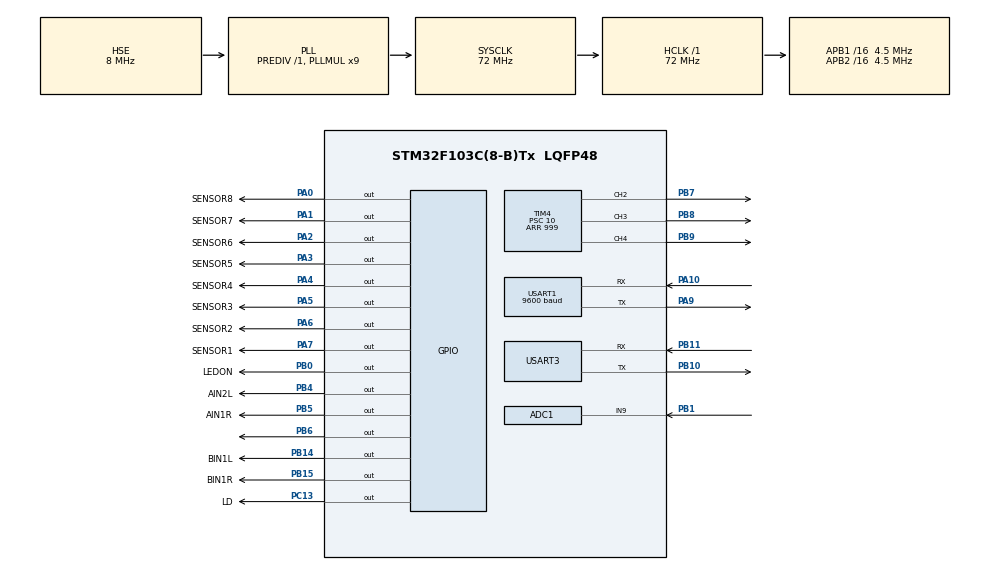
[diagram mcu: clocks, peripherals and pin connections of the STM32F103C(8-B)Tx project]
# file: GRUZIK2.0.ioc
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ADC1.Channel-0\#ChannelRegularConversion=ADC_CHANNEL_9
ADC1.ContinuousConvMode=ENABLE
ADC1.EnableAnalogWatchDog=false
ADC1.NbrOfConversion=1
ADC1.NbrOfConversionFlag=1
ADC1.Rank-0\#ChannelRegularConversion=1
ADC1.SamplingTime-0\#ChannelRegularConversion=ADC_SAMPLETIME_239CYCLES_5
ADC1.master=1
Dma.ADC1.0.Direction=DMA_PERIPH_TO_MEMORY
Dma.ADC1.0.Instance=DMA1_Channel1
Dma.ADC1.0.MemDataAlignment=DMA_MDATAALIGN_HALFWORD
Dma.ADC1.0.MemInc=DMA_MINC_ENABLE
Dma.ADC1.0.Mode=DMA_CIRCULAR
Dma.ADC1.0.PeriphDataAlignment=DMA_PDATAALIGN_HALFWORD
Dma.ADC1.0.PeriphInc=DMA_PINC_DISABLE
Dma.ADC1.0.Priority=DMA_PRIORITY_LOW
Dma.Request0=ADC1
Mcu.Family=STM32F1
Mcu.Name=STM32F103C(8-B)Tx
Mcu.Package=LQFP48
NVIC.DMA1_Channel1_IRQn=true\:0\:0\:false\:false\:true\:false\:true\:true
NVIC.PriorityGroup=NVIC_PRIORITYGROUP_4
NVIC.TIM1_BRK_IRQn=true\:0\:0\:false\:false\:true\:true\:true\:true
NVIC.TIM1_CC_IRQn=true\:0\:0\:false\:false\:true\:true\:true\:true
NVIC.TIM1_TRG_COM_IRQn=true\:0\:0\:false\:false\:true\:true\:true\:true
NVIC.TIM1_UP_IRQn=true\:0\:0\:false\:false\:true\:true\:true\:true
NVIC.USART1_IRQn=true\:0\:0\:false\:false\:true\:true\:true\:true
PA0-WKUP.GPIO_Label=SENSOR8
PA0-WKUP.GPIO_Speed=GPIO_SPEED_FREQ_HIGH
PA0-WKUP.Signal=GPIO_Output
PA1.GPIO_Label=SENSOR7
PA1.GPIO_Speed=GPIO_SPEED_FREQ_HIGH
PA1.Signal=GPIO_Output
PA10.Mode=Asynchronous
PA10.Signal=USART1_RX
PA13.Mode=Serial_Wire
PA13.Signal=SYS_JTMS-SWDIO
PA14.Mode=Serial_Wire
PA14.Signal=SYS_JTCK-SWCLK
PA2.GPIO_Label=SENSOR6
PA2.GPIO_Speed=GPIO_SPEED_FREQ_HIGH
PA2.Signal=GPIO_Output
PA3.GPIO_Label=SENSOR5
PA3.GPIO_Speed=GPIO_SPEED_FREQ_HIGH
PA3.Signal=GPIO_Output
PA4.GPIO_Label=SENSOR4
PA4.GPIO_Speed=GPIO_SPEED_FREQ_HIGH
PA4.Signal=GPIO_Output
PA5.GPIO_Label=SENSOR3
PA5.GPIO_Speed=GPIO_SPEED_FREQ_HIGH
PA5.Signal=GPIO_Output
PA6.GPIO_Label=SENSOR2
PA6.Signal=GPIO_Output
PA7.GPIO_Label=SENSOR1
PA7.GPIO_Speed=GPIO_SPEED_FREQ_HIGH
PA7.Signal=GPIO_Output
PA9.Mode=Asynchronous
PA9.Signal=USART1_TX
PB0.GPIO_Label=LEDON
PB0.GPIO_Speed=GPIO_SPEED_FREQ_HIGH
PB0.Signal=GPIO_Output
PB1.Signal=ADCx_IN9
PB10.Mode=Asynchronous
PB10.Signal=USART3_TX
PB11.Mode=Asynchronous
PB11.Signal=USART3_RX
PB14.GPIO_Label=BIN1L
PB14.GPIO_Speed=GPIO_SPEED_FREQ_HIGH
PB14.Signal=GPIO_Output
PB15.GPIO_Label=BIN1R
PB15.GPIO_Speed=GPIO_SPEED_FREQ_HIGH
PB15.Signal=GPIO_Output
PB4.GPIO_Label=AIN2L
PB4.GPIO_Speed=GPIO_SPEED_FREQ_HIGH
PB4.PinState=GPIO_PIN_RESET
PB4.Signal=GPIO_Output
PB5.GPIO_Label=AIN1R
PB5.GPIO_Speed=GPIO_SPEED_FREQ_HIGH
PB5.Signal=GPIO_Output
PB6.GPIO_Speed=GPIO_SPEED_FREQ_MEDIUM
PB6.Signal=GPIO_Output
PB7.Signal=S_TIM4_CH2
PB8.Signal=S_TIM4_CH3
PB9.Signal=S_TIM4_CH4
PC13-TAMPER-RTC.GPIO_Label=LD
PC13-TAMPER-RTC.PinState=GPIO_PIN_SET
PC13-TAMPER-RTC.Signal=GPIO_Output
PD0-OSC_IN.Mode=HSE-External-Oscillator
PD0-OSC_IN.Signal=RCC_OSC_IN
PD1-OSC_OUT.Mode=HSE-External-Oscillator
PD1-OSC_OUT.Signal=RCC_OSC_OUT
ProjectManager.HeapSize=0x200
ProjectManager.StackSize=0x400
ProjectManager.TargetToolchain=STM32CubeIDE
RCC.ADCPresc=RCC_ADCPCLK2_DIV6
RCC.AHBFreq_Value=72000000
RCC.APB1CLKDivider=RCC_HCLK_DIV16
RCC.APB1Freq_Value=4500000
RCC.APB1TimFreq_Value=9000000
RCC.APB2CLKDivider=RCC_HCLK_DIV16
RCC.APB2Freq_Value=4500000
RCC.APB2TimFreq_Value=9000000
RCC.HCLKFreq_Value=72000000
RCC.PLLMUL=RCC_PLL_MUL9
RCC.PLLSourceVirtual=RCC_PLLSOURCE_HSE
RCC.SYSCLKFreq_VALUE=72000000
RCC.SYSCLKSource=RCC_SYSCLKSOURCE_PLLCLK
RCC.USBFreq_Value=72000000
SH.ADCx_IN9.0=ADC1_IN9,IN9
SH.S_TIM4_CH2.0=TIM4_CH2,PWM Generation2 CH2
SH.S_TIM4_CH3.0=TIM4_CH3,Output Compare3 CH3
SH.S_TIM4_CH4.0=TIM4_CH4,PWM Generation4 CH4
TIM1.AutoReloadPreload=TIM_AUTORELOAD_PRELOAD_ENABLE
TIM1.CounterMode=TIM_COUNTERMODE_DOWN
TIM1.Prescaler=9000
TIM2.Prescaler=9
TIM3.AutoReloadPreload=TIM_AUTORELOAD_PRELOAD_ENABLE
TIM3.Prescaler=9000
TIM4.Channel-Output\ Compare3\ CH3=TIM_CHANNEL_3
TIM4.Channel-PWM\ Generation2\ CH2=TIM_CHANNEL_2
TIM4.Channel-PWM\ Generation4\ CH4=TIM_CHANNEL_4
TIM4.Period=999
TIM4.Prescaler=10
USART1.BaudRate=9600
USART1.VirtualMode=VM_ASYNC
USART3.VirtualMode=VM_ASYNC
VP_TIM1_VS_ClockSourceINT.Mode=Internal
VP_TIM2_VS_ClockSourceINT.Mode=Internal
VP_TIM3_VS_ClockSourceINT.Mode=Internal
VP_TIM4_VS_ClockSourceINT.Mode=Internal
board=custom

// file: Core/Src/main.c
/* USER CODE BEGIN Header */
/**
  ******************************************************************************
  * @file           : main.c
  * @brief          : Main program body
  ******************************************************************************
  * @attention
  *
  * Copyright (c) 2023 STMicroelectronics.
  * All rights reserved.
  *
  * This software is licensed under terms that can be found in the LICENSE file
  * in the root directory of this software component.
  * If no LICENSE file comes with this software, it is provided AS-IS.
  *
  ******************************************************************************
  */
/* USER CODE END Header */
#include "main.h"
#include "adc.h"
#include "dma.h"
#include "tim.h"
#include "usart.h"
#include "gpio.h"

/* USER CODE BEGIN Includes */
#include "D:\SN-USER\HAL-SN-Functions\SN-functions.h"
#include "stdlib.h"
#include "stdio.h"
#include "string.h"
#include "Line_Follower.h"
#include "RingBuffer.h"
#include "SimpleParser.h"
/* USER CODE END Includes */

/* USER CODE BEGIN PV */
	/*Defines*/
	#define true 1;
	#define false 0;
	#define ENDLINE '\n'

	LineFollower_t GRUZIK;

	/*Rest of PIDR regulator*/
	int Sensors_read = 0x00000000;
	int Position;
	float Ki = 0;
	float Kr = 0;
	int P, I, D, R;
	int Last_error = 0;
	int Errors[10] = {0,0,0,0,0,0,0,0,0,0};
	int Error_sum = 0;
	int Last_end = 0;	// 0 -> Left, 1 -> Right
	int Last_idle = 0;
	float Speed_level = 1;
	int ARR = 4;
	int actives = 0;

	/*Communication*/
    char buffer[28];
    uint8_t RxData;
	RingBuffer_t RB, ReceiveBuffer;
	uint8_t ReceivedData[32];
	uint8_t ReceivedLines;

	static uint32_t low_voltage_time;
	static uint8_t low_voltage_flag = 0;

/* USER CODE END PV */

void SystemClock_Config(void);
/* USER CODE BEGIN PFP */
void PID_control();
int errors_sum (int index, int abs);
void past_errors (int error);
void forward_brake(int pos_right, int pos_left);
int QTR8_read();
void sharp_turn();
void motor_control (double pos_right, double pos_left);
void Set_Pin_Input (GPIO_TypeDef *GPIOx, uint16_t GPIO_Pin);
void Set_Pin_Output (GPIO_TypeDef *GPIOx, uint16_t GPIO_Pin);
void delay_us (uint16_t us);
/* USER CODE END PFP */

int main(void)
{

  /* MCU Configuration--------------------------------------------------------*/

  /* Reset of all peripherals, Initializes the Flash interface and the Systick. */
  HAL_Init();

  /* Configure the system clock */
  SystemClock_Config();

  /* Initialize all configured peripherals */
  MX_GPIO_Init();
  MX_DMA_Init();
  MX_TIM1_Init();
  MX_TIM3_Init();
  MX_TIM4_Init();
  MX_USART1_UART_Init();
  MX_USART3_UART_Init();
  MX_ADC1_Init();
  MX_TIM2_Init();
  /* USER CODE BEGIN 2 */
  /*Initial values for PID*/
  /*Start ADC with DMA measurement*/
  HAL_ADC_Start_DMA(&hadc1, (uint32_t*)&GRUZIK.Adc_Value, 1);

  	GRUZIK.Kp = 0.02;
	GRUZIK.Kd = 0.1;
	GRUZIK.Speed_offset = 0.014;

	GRUZIK.Base_speed_R = 120;
	GRUZIK.Base_speed_L = 120;
	GRUZIK.Max_speed_R = 120;
	GRUZIK.Max_speed_L = 120;

	/*Sharp turn speed*/
	GRUZIK.Sharp_bend_speed_right=-70;
	GRUZIK.Sharp_bend_speed_left=85;
	GRUZIK.Bend_speed_right=-50;
	GRUZIK.Bend_speed_left=110;

  /*Start receiving data from Blue tooth*/
   HAL_UART_Receive_IT(&huart1, &RxData, 1);

   /*Start timers and PWM on channels*/
   HAL_TIM_Base_Start_IT(&htim1);
   HAL_TIM_Base_Start(&htim2);

   HAL_TIM_PWM_Start(&htim4, TIM_CHANNEL_1);
   HAL_TIM_PWM_Start(&htim4, TIM_CHANNEL_2);
   HAL_TIM_PWM_Start(&htim4, TIM_CHANNEL_3);
   HAL_TIM_PWM_Start(&htim4, TIM_CHANNEL_4);
  /* USER CODE END 2 */

  /* Infinite loop */
  while (1)
  {

    /* USER CODE BEGIN 3 */
	  PID_control();

	  if(ReceivedLines > 0)
	  {
		  Parser_TakeLine(&ReceiveBuffer, ReceivedData);
		  Parser_Parse(ReceivedData,&GRUZIK);

		  ReceivedLines--;
	  }
  }
  /* USER CODE END 3 */
}

void SystemClock_Config(void)
{
  RCC_OscInitTypeDef RCC_OscInitStruct = {0};
  RCC_ClkInitTypeDef RCC_ClkInitStruct = {0};
  RCC_PeriphCLKInitTypeDef PeriphClkInit = {0};

  /** Initializes the RCC Oscillators according to the specified parameters
  * in the RCC_OscInitTypeDef structure.
  */
  RCC_OscInitStruct.OscillatorType = RCC_OSCILLATORTYPE_HSE;
  RCC_OscInitStruct.HSEState = RCC_HSE_ON;
  RCC_OscInitStruct.HSEPredivValue = RCC_HSE_PREDIV_DIV1;
  RCC_OscInitStruct.HSIState = RCC_HSI_ON;
  RCC_OscInitStruct.PLL.PLLState = RCC_PLL_ON;
  RCC_OscInitStruct.PLL.PLLSource = RCC_PLLSOURCE_HSE;
  RCC_OscInitStruct.PLL.PLLMUL = RCC_PLL_MUL9;
  if (HAL_RCC_OscConfig(&RCC_OscInitStruct) != HAL_OK)
  {
    Error_Handler();
  }

  /** Initializes the CPU, AHB and APB buses clocks
  */
  RCC_ClkInitStruct.ClockType = RCC_CLOCKTYPE_HCLK|RCC_CLOCKTYPE_SYSCLK
                              |RCC_CLOCKTYPE_PCLK1|RCC_CLOCKTYPE_PCLK2;
  RCC_ClkInitStruct.SYSCLKSource = RCC_SYSCLKSOURCE_PLLCLK;
  RCC_ClkInitStruct.AHBCLKDivider = RCC_SYSCLK_DIV1;
  RCC_ClkInitStruct.APB1CLKDivider = RCC_HCLK_DIV16;
  RCC_ClkInitStruct.APB2CLKDivider = RCC_HCLK_DIV16;

  if (HAL_RCC_ClockConfig(&RCC_ClkInitStruct, FLASH_LATENCY_2) != HAL_OK)
  {
    Error_Handler();
  }
  PeriphClkInit.PeriphClockSelection = RCC_PERIPHCLK_ADC;
  PeriphClkInit.AdcClockSelection = RCC_ADCPCLK2_DIV6;
  if (HAL_RCCEx_PeriphCLKConfig(&PeriphClkInit) != HAL_OK)
  {
    Error_Handler();
  }
}

/* USER CODE BEGIN 4 */
void HAL_UART_RxCpltCallback(UART_HandleTypeDef *huart)
{
	if(huart->Instance == USART1)
	{
		if(RB_Write(&ReceiveBuffer, RxData) == RB_OK)
		{
			if(RxData == ENDLINE)
			{
				ReceivedLines++;
			}
		}
    	HAL_UART_Receive_IT(&huart1,&RxData, 1);
	}
}
void delay_us (uint16_t us) //Blocking function
{
	__HAL_TIM_SET_COUNTER(&htim2,0);  // set the counter value a 0
	while (__HAL_TIM_GET_COUNTER(&htim2) < us);  // wait for the counter to reach the us input in the parameter
}

void Set_Pin_Output (GPIO_TypeDef *GPIOx, uint16_t GPIO_Pin)
{
	GPIO_InitTypeDef GPIO_InitStruct = {0};
	GPIO_InitStruct.Pin = GPIO_Pin;
	GPIO_InitStruct.Mode = GPIO_MODE_OUTPUT_PP;
	GPIO_InitStruct.Speed = GPIO_SPEED_FREQ_LOW;
	HAL_GPIO_Init(GPIOx, &GPIO_InitStruct);
}

void Set_Pin_Input (GPIO_TypeDef *GPIOx, uint16_t GPIO_Pin)
{
	GPIO_InitTypeDef GPIO_InitStruct = {0};
	GPIO_InitStruct.Pin = GPIO_Pin;
	GPIO_InitStruct.Mode = GPIO_MODE_INPUT;
	GPIO_InitStruct.Pull = GPIO_PULLUP;
	HAL_GPIO_Init(GPIOx, &GPIO_InitStruct);
}

void motor_control (double pos_right, double pos_left)
{
	if (pos_left < 0 )
	{
		__HAL_TIM_SET_COMPARE (&htim4, TIM_CHANNEL_2, (uint32_t)((ARR*pos_left*-1) * GRUZIK.Speed_level));
		HAL_GPIO_WritePin(GPIOB, GPIO_PIN_15, GPIO_PIN_SET);
		HAL_GPIO_WritePin(GPIOB, GPIO_PIN_14, GPIO_PIN_RESET);
	}
	else
	{
		__HAL_TIM_SET_COMPARE (&htim4, TIM_CHANNEL_2, (uint32_t)((ARR*pos_left) * GRUZIK.Speed_level));
		HAL_GPIO_WritePin(GPIOB, GPIO_PIN_15, GPIO_PIN_RESET);
		HAL_GPIO_WritePin(GPIOB, GPIO_PIN_14, GPIO_PIN_SET);
	}
	if (pos_right < 0 )
	{
		__HAL_TIM_SET_COMPARE (&htim4, TIM_CHANNEL_4, (uint32_t)((ARR*pos_right* -1) * GRUZIK.Speed_level));
		HAL_GPIO_WritePin(GPIOB, GPIO_PIN_5, GPIO_PIN_SET);
		HAL_GPIO_WritePin(GPIOB, GPIO_PIN_4, GPIO_PIN_RESET);
	}
	else
	{
		__HAL_TIM_SET_COMPARE (&htim4, TIM_CHANNEL_4, (uint32_t)((ARR*pos_right) * GRUZIK.Speed_level));
		HAL_GPIO_WritePin(GPIOB, GPIO_PIN_5, GPIO_PIN_RESET);
		HAL_GPIO_WritePin(GPIOB, GPIO_PIN_4, GPIO_PIN_SET);
	}
}

void sharp_turn ()
{

	if (Last_idle < 25)
	{
		if (Last_end == 1)
			motor_control(GRUZIK.Sharp_bend_speed_right, GRUZIK.Sharp_bend_speed_left);
		else
			motor_control(GRUZIK.Sharp_bend_speed_left, GRUZIK.Sharp_bend_speed_right);
	}
	else
	{
		if (Last_end == 1)
			motor_control(GRUZIK.Bend_speed_right, GRUZIK.Bend_speed_left);
		else
			motor_control(GRUZIK.Bend_speed_left, GRUZIK.Bend_speed_right);
	}
}
int QTR8_read ()
{
	HAL_GPIO_WritePin(LEDON_GPIO_Port, LEDON_Pin, 1);

	Set_Pin_Output(SENSOR1_GPIO_Port, SENSOR1_Pin);
	Set_Pin_Output(SENSOR2_GPIO_Port, SENSOR2_Pin);
	Set_Pin_Output(SENSOR3_GPIO_Port, SENSOR3_Pin);
	Set_Pin_Output(SENSOR4_GPIO_Port, SENSOR4_Pin);
	Set_Pin_Output(SENSOR5_GPIO_Port, SENSOR5_Pin);
	Set_Pin_Output(SENSOR6_GPIO_Port, SENSOR6_Pin);
	Set_Pin_Output(SENSOR7_GPIO_Port, SENSOR7_Pin);
	Set_Pin_Output(SENSOR8_GPIO_Port, SENSOR8_Pin);

	HAL_GPIO_WritePin (SENSOR1_GPIO_Port, SENSOR1_Pin, 1);
	HAL_GPIO_WritePin (SENSOR2_GPIO_Port, SENSOR2_Pin, 1);
	HAL_GPIO_WritePin (SENSOR3_GPIO_Port, SENSOR3_Pin, 1);
	HAL_GPIO_WritePin (SENSOR4_GPIO_Port, SENSOR4_Pin, 1);
	HAL_GPIO_WritePin (SENSOR5_GPIO_Port, SENSOR5_Pin, 1);
	HAL_GPIO_WritePin (SENSOR6_GPIO_Port, SENSOR6_Pin, 1);
	HAL_GPIO_WritePin (SENSOR7_GPIO_Port, SENSOR7_Pin, 1);
	HAL_GPIO_WritePin (SENSOR8_GPIO_Port, SENSOR8_Pin, 1);

	delay_us(10);

	Set_Pin_Input(SENSOR1_GPIO_Port, SENSOR1_Pin);
	Set_Pin_Input(SENSOR2_GPIO_Port, SENSOR2_Pin);
	Set_Pin_Input(SENSOR3_GPIO_Port, SENSOR3_Pin);
	Set_Pin_Input(SENSOR4_GPIO_Port, SENSOR4_Pin);
	Set_Pin_Input(SENSOR5_GPIO_Port, SENSOR5_Pin);
	Set_Pin_Input(SENSOR6_GPIO_Port, SENSOR6_Pin);
	Set_Pin_Input(SENSOR7_GPIO_Port, SENSOR7_Pin);
	Set_Pin_Input(SENSOR8_GPIO_Port, SENSOR8_Pin);

	// Threshold
	 delay_us(4500);
	 	 	 //!!! FOR SENSOR TESTING ONLY !!!//

//	 uint8_t sensory[8];
//	 sensory[0] = HAL_GPIO_ReadPin(SENSOR1_GPIO_Port, SENSOR1_Pin);
//	 sensory[1] = HAL_GPIO_ReadPin(SENSOR2_GPIO_Port, SENSOR2_Pin);
//	 sensory[2] = HAL_GPIO_ReadPin(SENSOR3_GPIO_Port, SENSOR3_Pin);
//	 sensory[3] = HAL_GPIO_ReadPin(SENSOR4_GPIO_Port, SENSOR4_Pin);
//	 sensory[4] = HAL_GPIO_ReadPin(SENSOR5_GPIO_Port, SENSOR5_Pin);
//	 sensory[5] = HAL_GPIO_ReadPin(SENSOR6_GPIO_Port, SENSOR6_Pin);
//	 sensory[6] = HAL_GPIO_ReadPin(SENSOR7_GPIO_Port, SENSOR7_Pin);
//	 sensory[7] = HAL_GPIO_ReadPin(SENSOR8_GPIO_Port, SENSOR8_Pin);
//	 uint8_t Message[64];
//	 sprintf((char*)Message,"S1: %d S2: %d S3: %d S4: %d S5: %d S6: %d S7: %d S8: %d\n\r", sensory[0],sensory[1],sensory[2],sensory[3],sensory[4],sensory[5],sensory[6],sensory[7]);
//	 HAL_UART_Transmit(&huart3, Message, strlen((char*)Message), 100);

	Sensors_read = 0x00000000;
	int pos = 0;
  int active = 0;

	if (HAL_GPIO_ReadPin(SENSOR1_GPIO_Port, SENSOR1_Pin)) {
		Sensors_read |= 0x00000001;
		pos += 1000;//1000
    active++;
		Last_end = 1;
	}
	if (HAL_GPIO_ReadPin(SENSOR2_GPIO_Port, SENSOR2_Pin)) {
		Sensors_read |= 0x00000010;
		pos += 2000;//2000
    active++;
  }
	if (HAL_GPIO_ReadPin(SENSOR3_GPIO_Port, SENSOR3_Pin)) {
		Sensors_read |= 0x00000100;
		pos += 3000;//3000
    active++;
  }
	if (HAL_GPIO_ReadPin(SENSOR4_GPIO_Port, SENSOR4_Pin)) {
		Sensors_read |= 0x00001000;
		pos += 4000;//4000
    active++;
  }
	if (HAL_GPIO_ReadPin(SENSOR5_GPIO_Port, SENSOR5_Pin)) {
		Sensors_read |= 0x00010000;
		pos += 5000;//5000
    active++;
  }
	if (HAL_GPIO_ReadPin(SENSOR6_GPIO_Port, SENSOR6_Pin)) {
		Sensors_read |= 0x00100000;
		pos += 6000;//6000
    active++;
  }
	if (HAL_GPIO_ReadPin(SENSOR7_GPIO_Port, SENSOR7_Pin)) {
		Sensors_read |= 0x01000000;
		pos += 7000;//7000
    active++;
  }
	if (HAL_GPIO_ReadPin(SENSOR8_GPIO_Port, SENSOR8_Pin)) {
		Sensors_read |= 0x10000000;
		pos += 8000;//8000
    active++;
		Last_end = 0;
  }

  HAL_GPIO_WritePin(LEDON_GPIO_Port, LEDON_Pin, 0);

  actives = active;
	Position = pos/active;

	if (actives == 0)
		Last_idle++;
	else
		Last_idle = 0;

	return pos/active;
}

void forward_brake(int pos_right, int pos_left)
{
	if (actives == 0)
		sharp_turn();
	else
	  motor_control(pos_right, pos_left);
}

void past_errors (int error)
{
  for (int i = 9; i > 0; i--)
      Errors[i] = Errors[i-1];
  Errors[0] = error;
}

int errors_sum (int index, int abs)
{
  int sum = 0;
  for (int i = 0; i < index; i++)
  {
    if (abs == 1 && Errors[i] < 0)
      sum += -Errors[i];
    else
      sum += Errors[i];
  }
  return sum;
}

void PID_control()
{
  uint16_t position = QTR8_read();
  int error = 4500 - position;
  past_errors(error);

  P = error;
  I = errors_sum(5, 0);
  D = error - Last_error;
  R = errors_sum(5, 1);
  Last_error = error;

  int motorspeed = P*GRUZIK.Kp + I*Ki + D*GRUZIK.Kd;

  int motorspeedl = GRUZIK.Base_speed_L + motorspeed - R*Kr;
  int motorspeedr = GRUZIK.Base_speed_R - motorspeed - R*Kr;

  if (motorspeedl > GRUZIK.Max_speed_L)
    motorspeedl = GRUZIK.Max_speed_L;
  if (motorspeedr > GRUZIK.Max_speed_R)
    motorspeedr = GRUZIK.Max_speed_R;

	forward_brake(motorspeedr, motorspeedl);
}
/* USER CODE END 4 */

void Error_Handler(void)
{
  __disable_irq();
  while (1)
  {
  }
}
